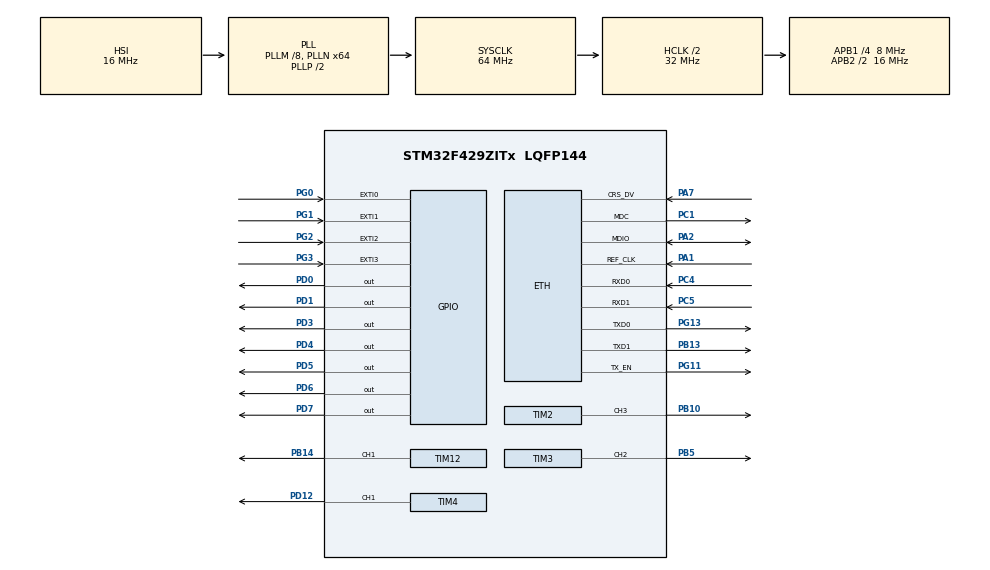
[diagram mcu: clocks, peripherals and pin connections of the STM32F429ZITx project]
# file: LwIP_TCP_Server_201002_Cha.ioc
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ETH.MediaInterface=ETH_MEDIA_INTERFACE_RMII
ETH.PhyAddress=0
LWIP.GATEWAY_ADDRESS=192.168.000.001
LWIP.IP_ADDRESS=192.168.000.012
LWIP.LWIP_DHCP=0
LWIP.NETMASK_ADDRESS=255.255.255.000
LWIP.Version=v2.1.2_Cube
Mcu.Family=STM32F4
Mcu.Name=STM32F429ZITx
Mcu.Package=LQFP144
NVIC.EXTI0_IRQn=true\:0\:0\:false\:false\:true\:true\:true
NVIC.EXTI1_IRQn=true\:0\:0\:false\:false\:true\:true\:true
NVIC.EXTI2_IRQn=true\:0\:0\:false\:false\:true\:true\:true
NVIC.EXTI3_IRQn=true\:0\:0\:false\:false\:true\:true\:true
NVIC.PriorityGroup=NVIC_PRIORITYGROUP_4
NVIC.TIM2_IRQn=true\:0\:0\:false\:false\:true\:true\:true
NVIC.TIM3_IRQn=true\:0\:0\:false\:false\:true\:true\:true
NVIC.TIM4_IRQn=true\:0\:0\:false\:false\:true\:true\:true
NVIC.TIM8_BRK_TIM12_IRQn=true\:0\:0\:false\:false\:true\:true\:true
PA1.Mode=RMII
PA1.Signal=ETH_REF_CLK
PA13.Mode=Serial_Wire
PA13.Signal=SYS_JTMS-SWDIO
PA14.Mode=Serial_Wire
PA14.Signal=SYS_JTCK-SWCLK
PA2.Mode=RMII
PA2.Signal=ETH_MDIO
PA7.Mode=RMII
PA7.Signal=ETH_CRS_DV
PB10.Signal=S_TIM2_CH3
PB13.Mode=RMII
PB13.Signal=ETH_TXD1
PB14.Signal=S_TIM12_CH1
PB5.Signal=S_TIM3_CH2
PC1.Mode=RMII
PC1.Signal=ETH_MDC
PC4.Mode=RMII
PC4.Signal=ETH_RXD0
PC5.Mode=RMII
PC5.Signal=ETH_RXD1
PD0.GPIO_ModeDefaultOutputPP=GPIO_MODE_OUTPUT_PP
PD0.GPIO_PuPd=GPIO_NOPULL
PD0.GPIO_Speed=GPIO_SPEED_FREQ_HIGH
PD0.PinState=GPIO_PIN_RESET
PD0.Signal=GPIO_Output
PD1.GPIO_ModeDefaultOutputPP=GPIO_MODE_OUTPUT_PP
PD1.GPIO_PuPd=GPIO_NOPULL
PD1.GPIO_Speed=GPIO_SPEED_FREQ_HIGH
PD1.PinState=GPIO_PIN_RESET
PD1.Signal=GPIO_Output
PD12.Signal=S_TIM4_CH1
PD3.GPIO_ModeDefaultOutputPP=GPIO_MODE_OUTPUT_PP
PD3.GPIO_PuPd=GPIO_NOPULL
PD3.GPIO_Speed=GPIO_SPEED_FREQ_HIGH
PD3.PinState=GPIO_PIN_RESET
PD3.Signal=GPIO_Output
PD4.GPIO_ModeDefaultOutputPP=GPIO_MODE_OUTPUT_PP
PD4.GPIO_PuPd=GPIO_NOPULL
PD4.GPIO_Speed=GPIO_SPEED_FREQ_HIGH
PD4.PinState=GPIO_PIN_RESET
PD4.Signal=GPIO_Output
PD5.GPIO_ModeDefaultOutputPP=GPIO_MODE_OUTPUT_PP
PD5.GPIO_PuPd=GPIO_NOPULL
PD5.GPIO_Speed=GPIO_SPEED_FREQ_HIGH
PD5.PinState=GPIO_PIN_RESET
PD5.Signal=GPIO_Output
PD6.GPIO_ModeDefaultOutputPP=GPIO_MODE_OUTPUT_PP
PD6.GPIO_PuPd=GPIO_NOPULL
PD6.GPIO_Speed=GPIO_SPEED_FREQ_HIGH
PD6.PinState=GPIO_PIN_RESET
PD6.Signal=GPIO_Output
PD7.GPIO_ModeDefaultOutputPP=GPIO_MODE_OUTPUT_PP
PD7.GPIO_PuPd=GPIO_NOPULL
PD7.GPIO_Speed=GPIO_SPEED_FREQ_HIGH
PD7.PinState=GPIO_PIN_RESET
PD7.Signal=GPIO_Output
PG0.GPIO_ModeDefaultEXTI=GPIO_MODE_IT_FALLING
PG0.GPIO_PuPd=GPIO_NOPULL
PG0.Signal=GPXTI0
PG1.GPIO_ModeDefaultEXTI=GPIO_MODE_IT_FALLING
PG1.GPIO_PuPd=GPIO_NOPULL
PG1.Signal=GPXTI1
PG11.Mode=RMII
PG11.Signal=ETH_TX_EN
PG13.Mode=RMII
PG13.Signal=ETH_TXD0
PG2.GPIO_ModeDefaultEXTI=GPIO_MODE_IT_FALLING
PG2.GPIO_PuPd=GPIO_NOPULL
PG2.Signal=GPXTI2
PG3.GPIO_ModeDefaultEXTI=GPIO_MODE_IT_FALLING
PG3.GPIO_PuPd=GPIO_NOPULL
PG3.Signal=GPXTI3
PH0/OSC_IN.Mode=HSE-External-Clock-Source
PH0/OSC_IN.Signal=RCC_OSC_IN
PH1/OSC_OUT.Mode=HSE-External-Clock-Source
PH1/OSC_OUT.Signal=RCC_OSC_OUT
ProjectManager.HeapSize=0x200
ProjectManager.StackSize=0x400
ProjectManager.TargetToolchain=STM32CubeIDE
RCC.48MHZClocksFreq_Value=32000000
RCC.AHBCLKDivider=RCC_SYSCLK_DIV2
RCC.AHBFreq_Value=32000000
RCC.APB1CLKDivider=RCC_HCLK_DIV4
RCC.APB1Freq_Value=8000000
RCC.APB1TimFreq_Value=16000000
RCC.APB2CLKDivider=RCC_HCLK_DIV2
RCC.APB2Freq_Value=16000000
RCC.APB2TimFreq_Value=32000000
RCC.CortexFreq_Value=32000000
RCC.HCLKFreq_Value=32000000
RCC.HSE_VALUE=8000000
RCC.HSI_VALUE=16000000
RCC.LSE_VALUE=32768
RCC.PLLM=8
RCC.PLLN=64
RCC.SYSCLKFreq_VALUE=64000000
RCC.SYSCLKSource=RCC_SYSCLKSOURCE_PLLCLK
RCC.VCOOutputFreq_Value=128000000
SH.S_TIM12_CH1.0=TIM12_CH1,PWM Generation1 CH1
SH.S_TIM2_CH3.0=TIM2_CH3,PWM Generation3 CH3
SH.S_TIM3_CH2.0=TIM3_CH2,PWM Generation2 CH2
SH.S_TIM4_CH1.0=TIM4_CH1,PWM Generation1 CH1
TIM12.Channel-PWM\ Generation1\ CH1=TIM_CHANNEL_1
TIM12.Period=1000-1
TIM12.Prescaler=320
TIM12.Pulse-PWM\ Generation1\ CH1=50
TIM2.Channel-PWM\ Generation3\ CH3=TIM_CHANNEL_3
TIM2.Period=1000-1
TIM2.Prescaler=320
TIM2.Pulse-PWM\ Generation3\ CH3=50
TIM3.Channel-PWM\ Generation2\ CH2=TIM_CHANNEL_2
TIM3.Period=1000-1
TIM3.Prescaler=320
TIM3.Pulse-PWM\ Generation2\ CH2=50
TIM4.Channel-PWM\ Generation1\ CH1=TIM_CHANNEL_1
TIM4.Period=1000-1
TIM4.Prescaler=320
TIM4.Pulse-PWM\ Generation1\ CH1=50
VP_LWIP_VS_Enabled.Mode=Enabled
board=custom

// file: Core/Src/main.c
/* USER CODE BEGIN Header */
/**
  ******************************************************************************
  * @file           : main.c
  * @brief          : Main program body
  ******************************************************************************
  * @attention
  *
  * <h2><center>&copy; Copyright (c) 2020 STMicroelectronics.
  * All rights reserved.</center></h2>
  *
  * This software component is licensed by ST under BSD 3-Clause license,
  * the "License"; You may not use this file except in compliance with the
  * License. You may obtain a copy of the License at:
  *                        opensource.org/licenses/BSD-3-Clause
  *
  ******************************************************************************
  */
/* USER CODE END Header */
#include "main.h"
#include "lwip.h"

/* USER CODE BEGIN Includes */
#include "tcp_echoserver.h"

/* USER CODE END Includes */

/* USER CODE BEGIN PD */
#define TxBufferSize (countof(TxBuffer) - 1)
#define TxBufferSize_3 (countof(TxBuffer_3) - 1)
#define RxBufferSize 0xFF
#define countof(a) (sizeof(a) / sizeof(*(a)))
/* USER CODE END PD */

TIM_HandleTypeDef htim2;
TIM_HandleTypeDef htim3;
TIM_HandleTypeDef htim4;
TIM_HandleTypeDef htim12;

/* USER CODE BEGIN PV */
struct netif gnetif;
int move_flag=1;
int revolution_flag=80;
int i2=50;
int i3=75;

/* USER CODE END PV */

void SystemClock_Config(void);
static void MX_GPIO_Init(void);
static void MX_TIM2_Init(void);
static void MX_TIM3_Init(void);
static void MX_TIM4_Init(void);
static void MX_TIM12_Init(void);
/* USER CODE BEGIN PFP */

void LED_OnOff(int, int);
void User_notification(struct netif *netif);

/* USER CODE END PFP */

int main(void)
{

  /* MCU Configuration--------------------------------------------------------*/

  /* Reset of all peripherals, Initializes the Flash interface and the Systick. */
  HAL_Init();

  /* Configure the system clock */
  SystemClock_Config();

  /* Initialize all configured peripherals */
  MX_GPIO_Init();
  MX_LWIP_Init();
  MX_TIM2_Init();
  MX_TIM3_Init();
  MX_TIM4_Init();
  MX_TIM12_Init();
  /* USER CODE BEGIN 2 */

  User_notification(&gnetif);
  tcp_echoserver_init();
  LED_OnOff(LED_ALL, 500);
  HAL_TIM_PWM_Start(&htim2,TIM_CHANNEL_3); // linear motor for move
  HAL_TIM_PWM_Start(&htim3,TIM_CHANNEL_2); // servo motor for revolution
  HAL_TIM_PWM_Start(&htim12,TIM_CHANNEL_1); // servo motor for push
  __HAL_TIM_SetCompare(&htim2, TIM_CHANNEL_3, 75);	//linear motor set
  __HAL_TIM_SetCompare(&htim3, TIM_CHANNEL_2, 80);	//revolution set
  __HAL_TIM_SetCompare(&htim12, TIM_CHANNEL_1, 80);	//push set
  /* USER CODE END 2 */

  /* Infinite loop */
  /* USER CODE BEGIN WHILE */
  while (1)
  {
	  MX_LWIP_Process();
	  /////////////////////////sw1 is pressed ///////////////////////////
	  if ( flag== 1 ) {
		  if(move_flag==1){
			  __HAL_TIM_SetCompare(&htim2, TIM_CHANNEL_3, 110);		//move_left
			  move_flag=2;
		  }
		  else if(move_flag==2){
			  __HAL_TIM_SetCompare(&htim2, TIM_CHANNEL_3, 90);		//move_center-left
			  move_flag=3;
		  }
		  else if(move_flag==3){
			  __HAL_TIM_SetCompare(&htim2, TIM_CHANNEL_3, 80);		//move_center
			  move_flag=4;
		  }
		  else if(move_flag==4){
			  __HAL_TIM_SetCompare(&htim2, TIM_CHANNEL_3, 65);		//move_center-right
			  move_flag=5;
		  }
		  else if(move_flag==5){
			  __HAL_TIM_SetCompare(&htim2, TIM_CHANNEL_3, 50);		//move_right
			  move_flag=1;
		  }
		  flag= 0;
	  }
	  ////////////////////////////sw2 is pressed ///////////////////////////
	  else if ( flag== 2 ) {
		  revolution_flag+=2;
		  if(revolution_flag<120){
			  __HAL_TIM_SetCompare(&htim3, TIM_CHANNEL_2, revolution_flag);
		  }
		  else{
			  revolution_flag-=2;
		  }
		  flag = 0;
	  }
	  ///////////////////////////////sw3 is pressed ///////////////////////////
	  else if ( flag == 3 ) {
		  revolution_flag-=2;
		  if(revolution_flag>40){
			  __HAL_TIM_SetCompare(&htim3, TIM_CHANNEL_2, revolution_flag);
		  }
		  else{
			  revolution_flag+=2;
		  }
		  flag = 0;
	  }
	////////////////////////////sw4 is pressed ///////////////////////////
	  else if ( flag == 4 ) {
		  __HAL_TIM_SetCompare(&htim12, TIM_CHANNEL_1, 40);
			HAL_Delay(1000);
		  __HAL_TIM_SetCompare(&htim12, TIM_CHANNEL_1, 80);
			HAL_Delay(1000);
		  flag = 0;
	  }
    /* USER CODE END WHILE */

  }
}

void SystemClock_Config(void)
{
  RCC_OscInitTypeDef RCC_OscInitStruct = {0};
  RCC_ClkInitTypeDef RCC_ClkInitStruct = {0};

  /** Configure the main internal regulator output voltage
  */
  __HAL_RCC_PWR_CLK_ENABLE();
  __HAL_PWR_VOLTAGESCALING_CONFIG(PWR_REGULATOR_VOLTAGE_SCALE3);
  /** Initializes the RCC Oscillators according to the specified parameters
  * in the RCC_OscInitTypeDef structure.
  */
  RCC_OscInitStruct.OscillatorType = RCC_OSCILLATORTYPE_HSI;
  RCC_OscInitStruct.HSIState = RCC_HSI_ON;
  RCC_OscInitStruct.HSICalibrationValue = RCC_HSICALIBRATION_DEFAULT;
  RCC_OscInitStruct.PLL.PLLState = RCC_PLL_ON;
  RCC_OscInitStruct.PLL.PLLSource = RCC_PLLSOURCE_HSI;
  RCC_OscInitStruct.PLL.PLLM = 8;
  RCC_OscInitStruct.PLL.PLLN = 64;
  RCC_OscInitStruct.PLL.PLLP = RCC_PLLP_DIV2;
  RCC_OscInitStruct.PLL.PLLQ = 4;
  if (HAL_RCC_OscConfig(&RCC_OscInitStruct) != HAL_OK)
  {
    Error_Handler();
  }
  /** Initializes the CPU, AHB and APB buses clocks
  */
  RCC_ClkInitStruct.ClockType = RCC_CLOCKTYPE_HCLK|RCC_CLOCKTYPE_SYSCLK
                              |RCC_CLOCKTYPE_PCLK1|RCC_CLOCKTYPE_PCLK2;
  RCC_ClkInitStruct.SYSCLKSource = RCC_SYSCLKSOURCE_PLLCLK;
  RCC_ClkInitStruct.AHBCLKDivider = RCC_SYSCLK_DIV2;
  RCC_ClkInitStruct.APB1CLKDivider = RCC_HCLK_DIV4;
  RCC_ClkInitStruct.APB2CLKDivider = RCC_HCLK_DIV2;

  if (HAL_RCC_ClockConfig(&RCC_ClkInitStruct, FLASH_LATENCY_1) != HAL_OK)
  {
    Error_Handler();
  }
}

static void MX_TIM2_Init(void)
{

  TIM_MasterConfigTypeDef sMasterConfig = {0};
  TIM_OC_InitTypeDef sConfigOC = {0};

  htim2.Instance = TIM2;
  htim2.Init.Prescaler = 320;
  htim2.Init.CounterMode = TIM_COUNTERMODE_UP;
  htim2.Init.Period = 1000-1;
  htim2.Init.ClockDivision = TIM_CLOCKDIVISION_DIV1;
  htim2.Init.AutoReloadPreload = TIM_AUTORELOAD_PRELOAD_DISABLE;
  if (HAL_TIM_PWM_Init(&htim2) != HAL_OK)
  {
    Error_Handler();
  }
  sMasterConfig.MasterOutputTrigger = TIM_TRGO_RESET;
  sMasterConfig.MasterSlaveMode = TIM_MASTERSLAVEMODE_DISABLE;
  if (HAL_TIMEx_MasterConfigSynchronization(&htim2, &sMasterConfig) != HAL_OK)
  {
    Error_Handler();
  }
  sConfigOC.OCMode = TIM_OCMODE_PWM1;
  sConfigOC.Pulse = 50;
  sConfigOC.OCPolarity = TIM_OCPOLARITY_HIGH;
  sConfigOC.OCFastMode = TIM_OCFAST_DISABLE;
  if (HAL_TIM_PWM_ConfigChannel(&htim2, &sConfigOC, TIM_CHANNEL_3) != HAL_OK)
  {
    Error_Handler();
  }
  HAL_TIM_MspPostInit(&htim2);

}

static void MX_TIM3_Init(void)
{

  TIM_MasterConfigTypeDef sMasterConfig = {0};
  TIM_OC_InitTypeDef sConfigOC = {0};

  htim3.Instance = TIM3;
  htim3.Init.Prescaler = 320;
  htim3.Init.CounterMode = TIM_COUNTERMODE_UP;
  htim3.Init.Period = 1000-1;
  htim3.Init.ClockDivision = TIM_CLOCKDIVISION_DIV1;
  htim3.Init.AutoReloadPreload = TIM_AUTORELOAD_PRELOAD_DISABLE;
  if (HAL_TIM_PWM_Init(&htim3) != HAL_OK)
  {
    Error_Handler();
  }
  sMasterConfig.MasterOutputTrigger = TIM_TRGO_RESET;
  sMasterConfig.MasterSlaveMode = TIM_MASTERSLAVEMODE_DISABLE;
  if (HAL_TIMEx_MasterConfigSynchronization(&htim3, &sMasterConfig) != HAL_OK)
  {
    Error_Handler();
  }
  sConfigOC.OCMode = TIM_OCMODE_PWM1;
  sConfigOC.Pulse = 50;
  sConfigOC.OCPolarity = TIM_OCPOLARITY_HIGH;
  sConfigOC.OCFastMode = TIM_OCFAST_DISABLE;
  if (HAL_TIM_PWM_ConfigChannel(&htim3, &sConfigOC, TIM_CHANNEL_2) != HAL_OK)
  {
    Error_Handler();
  }
  HAL_TIM_MspPostInit(&htim3);

}

static void MX_TIM4_Init(void)
{

  TIM_MasterConfigTypeDef sMasterConfig = {0};
  TIM_OC_InitTypeDef sConfigOC = {0};

  htim4.Instance = TIM4;
  htim4.Init.Prescaler = 320;
  htim4.Init.CounterMode = TIM_COUNTERMODE_UP;
  htim4.Init.Period = 1000-1;
  htim4.Init.ClockDivision = TIM_CLOCKDIVISION_DIV1;
  htim4.Init.AutoReloadPreload = TIM_AUTORELOAD_PRELOAD_DISABLE;
  if (HAL_TIM_PWM_Init(&htim4) != HAL_OK)
  {
    Error_Handler();
  }
  sMasterConfig.MasterOutputTrigger = TIM_TRGO_RESET;
  sMasterConfig.MasterSlaveMode = TIM_MASTERSLAVEMODE_DISABLE;
  if (HAL_TIMEx_MasterConfigSynchronization(&htim4, &sMasterConfig) != HAL_OK)
  {
    Error_Handler();
  }
  sConfigOC.OCMode = TIM_OCMODE_PWM1;
  sConfigOC.Pulse = 50;
  sConfigOC.OCPolarity = TIM_OCPOLARITY_HIGH;
  sConfigOC.OCFastMode = TIM_OCFAST_DISABLE;
  if (HAL_TIM_PWM_ConfigChannel(&htim4, &sConfigOC, TIM_CHANNEL_1) != HAL_OK)
  {
    Error_Handler();
  }
  HAL_TIM_MspPostInit(&htim4);

}

static void MX_TIM12_Init(void)
{

  TIM_OC_InitTypeDef sConfigOC = {0};

  htim12.Instance = TIM12;
  htim12.Init.Prescaler = 320;
  htim12.Init.CounterMode = TIM_COUNTERMODE_UP;
  htim12.Init.Period = 1000-1;
  htim12.Init.ClockDivision = TIM_CLOCKDIVISION_DIV1;
  htim12.Init.AutoReloadPreload = TIM_AUTORELOAD_PRELOAD_DISABLE;
  if (HAL_TIM_PWM_Init(&htim12) != HAL_OK)
  {
    Error_Handler();
  }
  sConfigOC.OCMode = TIM_OCMODE_PWM1;
  sConfigOC.Pulse = 50;
  sConfigOC.OCPolarity = TIM_OCPOLARITY_HIGH;
  sConfigOC.OCFastMode = TIM_OCFAST_DISABLE;
  if (HAL_TIM_PWM_ConfigChannel(&htim12, &sConfigOC, TIM_CHANNEL_1) != HAL_OK)
  {
    Error_Handler();
  }
  HAL_TIM_MspPostInit(&htim12);

}

static void MX_GPIO_Init(void)
{
  GPIO_InitTypeDef GPIO_InitStruct = {0};

  /* GPIO Ports Clock Enable */
  __HAL_RCC_GPIOH_CLK_ENABLE();
  __HAL_RCC_GPIOC_CLK_ENABLE();
  __HAL_RCC_GPIOA_CLK_ENABLE();
  __HAL_RCC_GPIOG_CLK_ENABLE();
  __HAL_RCC_GPIOB_CLK_ENABLE();
  __HAL_RCC_GPIOD_CLK_ENABLE();

  /*Configure GPIO pin Output Level */
  HAL_GPIO_WritePin(GPIOD, GPIO_PIN_0|GPIO_PIN_1|GPIO_PIN_3|GPIO_PIN_4
                          |GPIO_PIN_5|GPIO_PIN_6|GPIO_PIN_7, GPIO_PIN_RESET);

  /*Configure GPIO pins : PG0 PG1 PG2 PG3 */
  GPIO_InitStruct.Pin = GPIO_PIN_0|GPIO_PIN_1|GPIO_PIN_2|GPIO_PIN_3;
  GPIO_InitStruct.Mode = GPIO_MODE_IT_FALLING;
  GPIO_InitStruct.Pull = GPIO_NOPULL;
  HAL_GPIO_Init(GPIOG, &GPIO_InitStruct);

  /*Configure GPIO pins : PD0 PD1 PD3 PD4
                           PD5 PD6 PD7 */
  GPIO_InitStruct.Pin = GPIO_PIN_0|GPIO_PIN_1|GPIO_PIN_3|GPIO_PIN_4
                          |GPIO_PIN_5|GPIO_PIN_6|GPIO_PIN_7;
  GPIO_InitStruct.Mode = GPIO_MODE_OUTPUT_PP;
  GPIO_InitStruct.Pull = GPIO_NOPULL;
  GPIO_InitStruct.Speed = GPIO_SPEED_FREQ_HIGH;
  HAL_GPIO_Init(GPIOD, &GPIO_InitStruct);

  /* EXTI interrupt init*/
  HAL_NVIC_SetPriority(EXTI0_IRQn, 0, 0);
  HAL_NVIC_EnableIRQ(EXTI0_IRQn);

  HAL_NVIC_SetPriority(EXTI1_IRQn, 0, 0);
  HAL_NVIC_EnableIRQ(EXTI1_IRQn);

  HAL_NVIC_SetPriority(EXTI2_IRQn, 0, 0);
  HAL_NVIC_EnableIRQ(EXTI2_IRQn);

  HAL_NVIC_SetPriority(EXTI3_IRQn, 0, 0);
  HAL_NVIC_EnableIRQ(EXTI3_IRQn);

}

/* USER CODE BEGIN 4 */
void LED_OnOff(int led, int interval)
{
	HAL_GPIO_WritePin(GPIO_LED, led, GPIO_PIN_SET );
	HAL_Delay(interval);
	HAL_GPIO_WritePin(GPIO_LED, led, GPIO_PIN_RESET );

}

void User_notification(struct netif *netif)
{
	if (netif_is_up(netif))  {
		HAL_GPIO_WritePin(GPIO_LED, LED7, GPIO_PIN_SET);
	}

	else  {
		HAL_GPIO_WritePin(GPIO_LED, LED8, GPIO_PIN_SET);
	}
}

/* USER CODE END 4 */

void Error_Handler(void)
{
}

/************************ (C) COPYRIGHT STMicroelectronics *****END OF FILE****/
